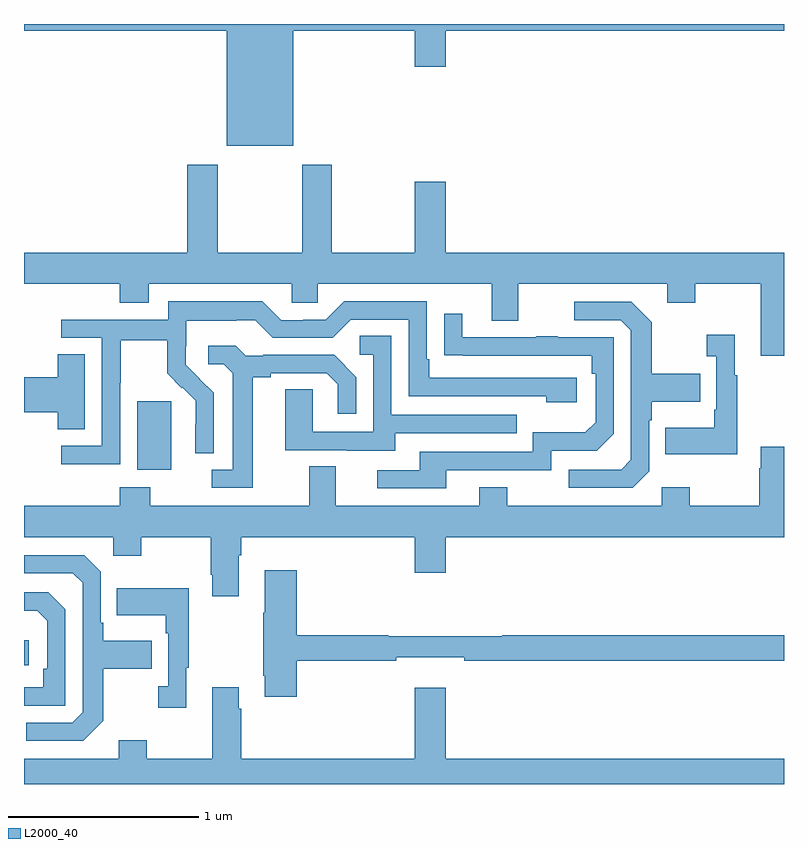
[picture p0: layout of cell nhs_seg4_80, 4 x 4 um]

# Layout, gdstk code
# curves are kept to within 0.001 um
import gdstk
lib = gdstk.Library(unit=1e-6, precision=1e-09)
def R(c, l, rs):  # rectangles x0, y0, x1, y1
    for r in rs: c.add(gdstk.rectangle(r[:2], r[2:], *l))
def P(c, l, *ps):  # polygons
    for p in ps: c.add(gdstk.Polygon(p, *l))
L2000_40 = (2000, 40)

nhs_seg4_80 = lib.new_cell('nhs_seg4_80')
R(nhs_seg4_80, L2000_40, [(115,749.526,115.024,749.656), (115.595,750.554,115.774,750.915)])
P(nhs_seg4_80, L2000_40, [(116.416,752.864),(117.056,752.864),(117.056,752.676),(117.22,752.676),(117.22,752.864),(119,752.864),(119,752.9),(115,752.9),(115,752.864),(116.066,752.864),(116.066,752.258),(116.416,752.258)],
  [(119,751.696),(117.22,751.696),(117.22,752.071),(117.056,752.071),(117.056,751.696),(116.619,751.696),(116.619,752.158),(116.464,752.158),(116.464,751.696),(116.019,751.696),(116.019,752.158),(115.859,752.158),(115.859,751.696),(115,751.696),(115,751.532),(115.505,751.532),(115.505,751.433),(115.657,751.433),(115.657,751.532),(116.409,751.532),(116.409,751.434),(116.547,751.434),(116.547,751.532),(117.461,751.532),(117.461,751.338),(117.601,751.338),(117.601,751.532),(118.385,751.532),(118.385,751.433),(118.533,751.433),(118.533,751.532),(118.877,751.532),(118.877,751.155),(119,751.155)],
  [(115.506,751.012),(115.509,751.012),(115.509,751.236),(115.753,751.236),(115.753,751.061),(115.83,750.984),(115.833,750.987),(115.904,750.917),(115.904,750.794),(115.902,750.794),(115.902,750.64),(115.998,750.64),(115.998,750.958),(115.852,751.106),(115.852,751.203),(115.854,751.203),(115.854,751.337),(116.117,751.337),(116.117,751.341),(116.217,751.341),(116.31,751.248),(116.625,751.248),(116.721,751.344),(117.024,751.344),(117.024,750.942),(117.749,750.942),(117.749,750.908),(117.91,750.908),(117.91,751.038),(117.133,751.038),(117.133,751.135),(117.12,751.135),(117.12,751.44),(116.685,751.44),(116.589,751.344),(116.471,751.344),(116.471,751.341),(116.355,751.341),(116.255,751.441),(115.758,751.441),(115.758,751.344),(115.197,751.344),(115.197,751.248),(115.41,751.248),(115.41,750.681),(115.197,750.681),(115.197,750.583),(115.506,750.583)],
  [(118.29,750.546),(118.29,750.815),(118.303,750.815),(118.303,750.911),(118.559,750.911),(118.559,751.059),(118.303,751.059),(118.303,751.331),(118.197,751.437),(117.897,751.437),(117.897,751.341),(118.14,751.341),(118.194,751.287),(118.194,750.606),(118.143,750.555),(117.867,750.555),(117.867,750.459),(118.203,750.459)],
  [(117.223,750.552),(117.774,750.552),(117.774,750.654),(118.014,750.654),(118.104,750.744),(118.104,751.251),(117.809,751.251),(117.809,751.256),(117.697,751.256),(117.697,751.251),(117.307,751.251),(117.307,751.375),(117.211,751.375),(117.211,751.156),(117.988,751.155),(117.988,751.058),(118.008,751.058),(118.008,750.804),(117.955,750.751),(117.678,750.751),(117.678,750.648),(117.083,750.648),(117.083,750.552),(116.859,750.552),(116.859,750.456),(117.223,750.456)],
  [(118.753,751.051),(118.741,751.051),(118.741,751.264),(118.593,751.264),(118.593,751.151),(118.644,751.151),(118.644,750.871),(118.632,750.871),(118.632,750.775),(118.375,750.775),(118.375,750.635),(118.753,750.635)],
  [(116.953,750.747),(117.593,750.747),(117.593,750.843),(116.934,750.843),(116.934,751.259),(116.766,751.259),(116.766,751.158),(116.838,751.158),(116.838,750.753),(116.52,750.753),(116.52,750.977),(116.375,750.977),(116.375,750.657),(116.699,750.657),(116.699,750.653),(116.953,750.653)],
  [(116.203,751.04),(116.299,751.04),(116.299,751.062),(116.594,751.062),(116.651,751.005),(116.651,750.849),(116.748,750.849),(116.748,751.042),(116.632,751.158),(116.26,751.158),(116.26,751.155),(116.166,751.155),(116.114,751.207),(115.971,751.207),(115.971,751.11),(116.052,751.11),(116.099,751.063),(116.099,750.555),(115.989,750.555),(115.989,750.459),(116.203,750.459)],
  [(115.321,751.163),(115.178,751.163),(115.178,751.04),(115,751.04),(115,750.857),(115.178,750.857),(115.178,750.766),(115.321,750.766)],
  [(116.131,750.104),(116.144,750.104),(116.144,750.2),(117.056,750.2),(117.056,750.012),(117.22,750.012),(117.22,750.2),(119,750.2),(119,750.676),(118.877,750.676),(118.877,750.563),(118.87,750.563),(118.87,750.364),(118.503,750.364),(118.503,750.463),(118.356,750.463),(118.356,750.364),(117.543,750.364),(117.543,750.463),(117.395,750.463),(117.395,750.364),(116.641,750.364),(116.641,750.572),(116.501,750.572),(116.501,750.364),(115.665,750.364),(115.665,750.463),(115.505,750.463),(115.505,750.364),(115,750.364),(115,750.2),(115.47,750.2),(115.47,750.101),(115.617,750.101),(115.617,750.2),(115.984,750.2),(115.984,750.001),(115.991,750.001),(115.991,749.889),(116.131,749.889)],
  [(115.417,749.233),(115.417,749.506),(115.673,749.506),(115.673,749.653),(115.417,749.653),(115.417,749.749),(115.404,749.749),(115.404,750.018),(115.317,750.105),(115,750.105),(115,750.009),(115.257,750.009),(115.308,749.958),(115.308,749.277),(115.254,749.223),(115.011,749.223),(115.011,749.127),(115.311,749.127)],
  [(116.435,749.548),(116.96,749.548),(116.96,749.567),(117.316,749.567),(117.316,749.548),(119,749.548),(119,749.684),(117.518,749.684),(117.518,749.677),(116.918,749.677),(116.918,749.684),(116.435,749.684),(116.435,750.025),(116.267,750.025),(116.267,749.801),(116.26,749.801),(116.26,749.47),(116.267,749.47),(116.267,749.358),(116.435,749.358)],
  [(115.855,749.513),(115.867,749.513),(115.867,749.929),(115.489,749.929),(115.489,749.789),(115.746,749.789),(115.746,749.693),(115.758,749.693),(115.758,749.414),(115.707,749.414),(115.707,749.301),(115.855,749.301)],
  [(115.218,749.82),(115.128,749.91),(115,749.91),(115,749.813),(115.069,749.813),(115.122,749.76),(115.122,749.506),(115.102,749.506),(115.102,749.409),(115,749.409),(115,749.313),(115.218,749.313)],
  [(119,749.032),(117.22,749.032),(117.22,749.407),(117.056,749.407),(117.056,749.032),(116.144,749.032),(116.144,749.297),(116.131,749.297),(116.131,749.41),(115.991,749.41),(115.991,749.032),(115.647,749.032),(115.647,749.131),(115.499,749.131),(115.499,749.032),(115,749.032),(115,748.9),(119,748.9)])

lib.write_gds('nhs_seg4_80.gds')
